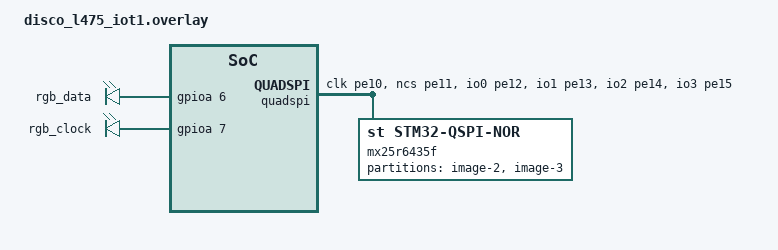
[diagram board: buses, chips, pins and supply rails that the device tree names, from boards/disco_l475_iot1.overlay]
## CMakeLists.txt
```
# SPDX-License-Identifier: Apache-2.0

cmake_minimum_required(VERSION 3.20.0)
find_package(Zephyr REQUIRED HINTS $ENV{ZEPHYR_BASE})
project(task2)

target_sources(app PRIVATE src/main.c)
```

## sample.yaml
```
sample:
  description: A basic demo to showcase multi-threading using K_THREAD_DEFINE for RGB LED control
  name: RGB LED Multi-Threading Demo
tests:
  sample.basic.rgb:
    tags:
      - kernel
      - threads
      - gpio
    filter: dt_enabled_alias_with_parent_compat("rgb_data", "gpio-leds") and
            dt_enabled_alias_with_parent_compat("rgb_clock", "gpio-leds")
    integration_platforms:
      - nrf52833dk/nrf52820
    depends_on: gpio
    harness: console
    harness_config:
      type: multi_line
      ordered: false
      regex:
        - "RGB LED set to color: (.*)"
```

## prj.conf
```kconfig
CONFIG_GPIO=y

# Enable MCUboot bootloader support
CONFIG_BOOTLOADER_MCUBOOT=y
# Disable watchdog timer 
CONFIG_WATCHDOG=n

# Image manager for firmware updates
CONFIG_IMG_MANAGER=y
CONFIG_MCUBOOT_IMG_MANAGER=y

# Flash and partition management
CONFIG_FLASH=y              # Enable flash memory driver
CONFIG_FLASH_MAP=y          # Enable flash partition mapping
CONFIG_STREAM_FLASH=y       # Enable streaming flash write API
CONFIG_SOC_FLASH_STM32=y    # Enable STM32-specific flash memory driver
```

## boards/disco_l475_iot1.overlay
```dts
/ {
    aliases {
        data = &rgb_data;
        clock = &rgb_clock;
    };

    rgb {
        compatible = "gpio-leds";

        rgb_data: rgb-data {
            gpios = <&gpioa 6 GPIO_ACTIVE_HIGH>;
        };

        rgb_clock: rgb-clock {
            gpios = <&gpioa 7 GPIO_ACTIVE_HIGH>;
        };
    };
};

// Delete slot1 and slot2 to enable rearranging of partitions
/delete-node/ &slot1_partition;
/delete-node/ &slot2_partition;
&quadspi {
    pinctrl-0 = <&quadspi_clk_pe10 &quadspi_ncs_pe11
             &quadspi_bk1_io0_pe12 &quadspi_bk1_io1_pe13
             &quadspi_bk1_io2_pe14 &quadspi_bk1_io3_pe15>;
    pinctrl-names = "default";
    dmas = <&dma1 5 5 0x0000>;
    dma-names = "tx_rx";

    status = "okay";

    mx25r6435f: qspi-nor-flash@90000000 {
        compatible = "st,stm32-qspi-nor";
        reg = <0x90000000 DT_SIZE_M(8)>; /* 64 Mbits */
        qspi-max-frequency = <50000000>;
        status = "okay";

        partitions {
            compatible = "fixed-partitions";
            #address-cells = <1>;
            #size-cells = <1>;

            slot2_partition: partition@0 {
                label = "image-2";
                reg = <0x00000000 DT_SIZE_K(864)>;
            };

            slot3_partition: partition@d8000 {
                label = "image-3";
                reg = <0x000d8000 DT_SIZE_M(7)>;
            };
        };
    };
};

// Delete slot0 to fix partition overlap
/delete-node/ &slot0_partition;
&flash0 {
    partitions {
        compatible = "fixed-partitions";
        #address-cells = <1>;
        #size-cells = <1>;

        boot_partition: partition@0 {
            label = "mcuboot";
            reg = <0x0 DT_SIZE_K(64)>;
            read-only;
        };

        slot0_partition: partition@10000 {
            label = "image-0";
            reg = <0x10000 DT_SIZE_K(468)>;
        };

        // Add new slot1 to ensure we can use swap algorithm
        slot1_partition: partition@85000 {
            label = "image-1";
            reg = <0x85000 DT_SIZE_K(460)>;
        };

        storage_partition: partition@f8000 {
            label = "storage";
            reg = <0xf8000 DT_SIZE_K(32)>;
        };
    };
};
```

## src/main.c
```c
#include <zephyr/kernel.h>
#include <zephyr/sys/printk.h>
#include <zephyr/drivers/gpio.h>
#include <zephyr/device.h>
#include <zephyr/devicetree.h>

#define PRIORITY                1      // Priority for both threads
#define NUM_OF_COLOURS          8      // Number of color states
#define NUM_OF_BITS             8      // Number of bits per byte
#define NUM_OF_BYTES            4      // Number of bytes
#define STACKSIZE               1024   // Stack size for threads
#define MSGQ_SIZE               10     // Message queue size
#define ALIGNMENT_SIZE_IN_BYTES 4      // Alignment size for message queue

// GPIO device tree alias definitions
#define DATA_NODE DT_ALIAS(data)       // Data pin alias
#define CLOCK_NODE DT_ALIAS(clock)     // Clock pin alias

// GPIO structures for controlling RGB LED
static const struct gpio_dt_spec rgb_data = GPIO_DT_SPEC_GET(DATA_NODE, gpios);
static const struct gpio_dt_spec rgb_clock = GPIO_DT_SPEC_GET(CLOCK_NODE, gpios);

// Synchronization primitives
K_SEM_DEFINE(signal_sem, 1, 1); 
K_MSGQ_DEFINE(rgb_msgq, sizeof(uint32_t), MSGQ_SIZE, ALIGNMENT_SIZE_IN_BYTES);

/*
 * Initializes the GPIO pins for RGB LED control.
 */
void rgb_init(void) {

    int ret;

    // Configure the data pin as an output
    ret = gpio_pin_configure_dt(&rgb_data, GPIO_OUTPUT_ACTIVE);
    if (ret < 0) {
        printk("Error configuring rgb_data: %d\n", ret);
    }

    // Configure the clock pin as an output
    ret = gpio_pin_configure_dt(&rgb_clock, GPIO_OUTPUT_ACTIVE);
    if (ret < 0) {
        printk("Error configuring rgb_clock: %d\n", ret);
    }
}

/*
 * Generates a clock pulse for data transmission.
 */
void clk(void) {

    gpio_pin_set_dt(&rgb_clock, 0);
    k_busy_wait(1);  // Short delay
    gpio_pin_set_dt(&rgb_clock, 1);
    k_busy_wait(1);  // Short delay
}

/*
 * Sends a byte of data to the RGB LED.
 */
void send_byte(uint8_t byte) {

    for (uint8_t i = 0; i < NUM_OF_BITS; i++) {

        // Set data line based on MSB
        gpio_pin_set_dt(&rgb_data, (byte & 0x80) != 0);
        clk();       // Generate clock pulse
        byte <<= 1;  // Shift left to send the next bit
    }
}

/*
 * Sends an RGB color value with brightness adjustment.
 */
void send_rgb_colour(uint8_t red, uint8_t green, uint8_t blue, float brightness) {

    uint8_t prefix = 0b11000000;

    // Encoding color brightness control bits
    if ((blue & 0x80) == 0)     prefix |= 0b00100000;
    if ((blue & 0x40) == 0)     prefix |= 0b00010000; 
    if ((green & 0x80) == 0)    prefix |= 0b00001000;
    if ((green & 0x40) == 0)    prefix |= 0b00000100;
    if ((red & 0x80) == 0)      prefix |= 0b00000010;
    if ((red & 0x40) == 0)      prefix |= 0b00000001;

    send_byte(prefix);
    send_byte((uint8_t)(blue * brightness));
    send_byte((uint8_t)(green * brightness));
    send_byte((uint8_t)(red * brightness));
}

/*
 * Sets the RGB LED color based on a predefined value.
 */
void set_rgb_colour(uint8_t rgb_value, float brightness) {

    // Start frame (4 zero bytes)
    for (int i = 0; i < NUM_OF_BYTES; i++) {
        send_byte(0x00);
    }

    // Extract RGB values from the 3-bit input
    uint8_t red = ((rgb_value >> 2) & 1) * 255;
    uint8_t green = ((rgb_value >> 1) & 1) * 255;
    uint8_t blue = (rgb_value & 1) * 255;

    send_rgb_colour(red, green, blue, brightness);

    // End frame (4 zero bytes)
    for (int i = 0; i < NUM_OF_BYTES; i++) {
        send_byte(0x00);
    }
}

/*
 * RGB thread: Cycles through different colors and sends them to the message queue.
 */
void rgb_thread(void *, void *, void *) {

    uint8_t color_num = 7;

    while (1) {

        // Wait for signal to update color
        k_sem_take(&signal_sem, K_FOREVER);   

        // Cycle through 8 colors
        color_num = (color_num + 1) % NUM_OF_COLOURS;

        if (k_msgq_put(&rgb_msgq, &color_num, K_FOREVER) != 0) {
            // Handle message queue put failure
        }
    }
}

/*
 * Control thread: Receives color data and updates the LED.
 */
void control_thread(void *, void *, void *) {

    uint8_t color_num = 0;
    rgb_init();  // Initialize GPIOs

    while (1) {

        k_msgq_get(&rgb_msgq, &color_num, K_FOREVER);  // Wait for color data
        set_rgb_colour(color_num, 0.5);                // Update LED with 50% brightness
        k_sleep(K_SECONDS(2));                         // Wait for 2 seconds before changing color
        k_sem_give(&signal_sem);                       // Signal RGB thread to generate the next color
    }
}

int main(void) {

    return 0;   // Main does nothing since threads are defined outside
}

// Define and start threads
K_THREAD_DEFINE(control_tid, STACKSIZE, rgb_thread, NULL, NULL, NULL, PRIORITY, 0, 0);
K_THREAD_DEFINE(set_tid, STACKSIZE, control_thread, NULL, NULL, NULL, PRIORITY, 0, 0);
```
